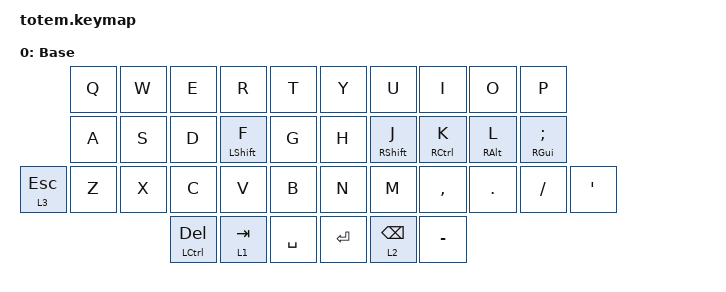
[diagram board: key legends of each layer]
//
//                                                        ▀▀▀▀▀     ▀▀▀▀▀          ▀▀█▀▀
//                                                        ▄▀▀▀▄  ▄  ▄▀▀▀▄  ▄  ▄▀▀▀▄  █  ▄▀▀▀▄
//                                                        █   █  █  █   █  █  █   █  █  █   █
//                                                         ▀▀▀   █   ▀▀▀   █   ▀▀▀   ▀   ▀▀▀
//                                                               █      ▄▄▄█▄▄▄    █   █  
//                                                               ▀      █  █  █     █▄█
//                                                             ▀▀▀▀▀    █  █  █      ▀
//                                                                      ▀  ▀  ▀
//
// ▄▄▄▄▄▄▄▄▄▄▄▄▄▄▄▄▄▄▄▄▄▄▄▄▄▄▄▄▄▄▄▄▄▄▄▄▄▄▄▄▄▄▄▄▄▄▄▄▄▄▄▄▄▄▄▄▄▄▄▄▄▄▄▄▄▄▄▄▄▄▄▄▄▄▄▄▄▄▄▄▄▄▄▄▄▄▄▄▄▄▄▄▄▄▄▄▄▄▄▄▄▄▄▄▄▄▄▄▄▄▄▄▄▄▄▄▄▄▄▄▄▄▄▄▄▄▄▄▄▄▄▄▄▄▄▄▄▄▄▄▄▄▄▄▄▄▄▄▄

#include <behaviors.dtsi>
#include <dt-bindings/zmk/keys.h>

#define Base        0

/ {

    combos { compatible = "zmk,combos"; };

    keymap {
        compatible = "zmk,keymap";

        Base {
            display-name = "Base";
            bindings = <
              &kp Q       &kp W       &kp E          &kp R         &kp T        &kp Y    &kp U        &kp I        &kp O       &kp P
              &kp A		  &kp S		  &kp D    &hm LSHIFT F  &kp G        &kp H    &hm RSHFT J  &hm RCTRL K  &hm RALT L  &hm RGUI SEMICOLON
&lt 3 ESCAPE  &kp Z       &kp X       &kp C          &kp V         &kp B        &kp N    &kp M        &kp COMMA    &kp DOT     &kp SLASH           &kp APOSTROPHE
                                      &mt LCTRL DEL  &lt 1 TAB     &kp SPACE    &kp RET  &lt 2 BSPC   &kp MINUS
            >;
        };

    };
};
